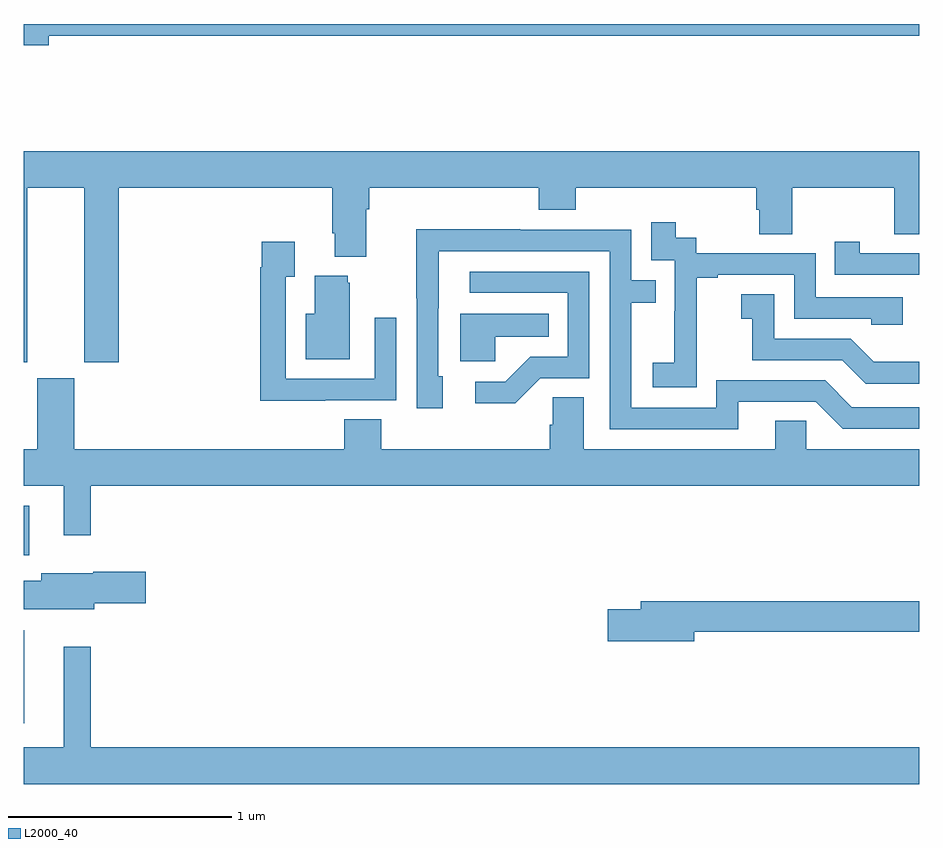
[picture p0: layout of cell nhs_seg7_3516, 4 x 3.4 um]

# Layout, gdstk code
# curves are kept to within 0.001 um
import gdstk
lib = gdstk.Library(unit=1e-6, precision=1e-09)
def R(c, l, rs):  # rectangles x0, y0, x1, y1
    for r in rs: c.add(gdstk.rectangle(r[:2], r[2:], *l))
def P(c, l, *ps):  # polygons
    for p in ps: c.add(gdstk.Polygon(p, *l))
L2000_40 = (2000, 40)

nhs_seg7_3516 = lib.new_cell('nhs_seg7_3516')
R(nhs_seg7_3516, L2000_40, [(335,1012.875,335.002,1013.29), (335,1013.627,335.023,1013.848)])
P(nhs_seg7_3516, L2000_40, [(335.11,1015.948),(339,1015.948),(339,1016),(335,1016),(335,1015.906),(335.11,1015.906)],
  [(335.014,1015.268),(335.27,1015.268),(335.27,1014.489),(335.423,1014.489),(335.423,1015.268),(336.377,1015.268),(336.377,1015.066),(336.389,1015.066),(336.389,1014.959),(336.529,1014.959),(336.529,1015.172),(336.542,1015.172),(336.542,1015.268),(337.301,1015.268),(337.301,1015.169),(337.466,1015.169),(337.466,1015.268),(338.273,1015.268),(338.273,1015.17),(338.285,1015.17),(338.285,1015.06),(338.433,1015.06),(338.433,1015.268),(338.89,1015.268),(338.89,1015.06),(339,1015.06),(339,1015.432),(335,1015.432),(335,1014.489),(335.014,1014.489)],
  [(338.007,1014.583),(338.006,1014.583),(338.006,1014.867),(338.101,1014.867),(338.101,1014.879),(338.442,1014.879),(338.442,1014.684),(338.787,1014.684),(338.787,1014.657),(338.927,1014.657),(338.927,1014.78),(338.538,1014.78),(338.538,1014.975),(338.004,1014.975),(338.004,1015.044),(337.912,1015.044),(337.912,1015.114),(337.803,1015.114),(337.803,1014.945),(337.908,1014.945),(337.908,1014.716),(337.907,1014.716),(337.907,1014.487),(337.809,1014.487),(337.809,1014.377),(338.007,1014.377)],
  [(338.191,1014.312),(338.538,1014.312),(338.658,1014.192),(339,1014.192),(339,1014.288),(338.7,1014.288),(338.58,1014.408),(338.094,1014.408),(338.094,1014.285),(337.713,1014.285),(337.713,1014.754),(337.823,1014.754),(337.823,1014.855),(337.713,1014.855),(337.713,1015.08),(337.217,1015.08),(337.217,1015.082),(336.754,1015.082),(336.754,1014.775),(336.756,1014.775),(336.756,1014.282),(336.871,1014.282),(336.871,1014.426),(336.852,1014.426),(336.853,1014.984),(337.617,1014.984),(337.617,1014.189),(338.191,1014.189)],
  [(339,1014.975),(338.734,1014.975),(338.734,1015.027),(338.623,1015.027),(338.623,1014.879),(339,1014.879)],
  [(336.347,1014.318),(336.663,1014.318),(336.663,1014.688),(336.567,1014.688),(336.567,1014.414),(336.171,1014.414),(336.171,1014.871),(336.211,1014.871),(336.211,1015.027),(336.063,1015.027),(336.063,1014.914),(336.055,1014.914),(336.055,1014.317),(336.347,1014.317)],
  [(337.308,1014.417),(337.527,1014.417),(337.527,1014.894),(336.993,1014.894),(336.993,1014.798),(337.431,1014.798),(337.431,1014.513),(337.262,1014.513),(337.151,1014.402),(337.017,1014.402),(337.017,1014.305),(337.195,1014.305)],
  [(336.457,1014.843),(336.446,1014.843),(336.446,1014.874),(336.299,1014.874),(336.299,1014.706),(336.26,1014.706),(336.26,1014.503),(336.457,1014.503)],
  [(339,1014.49),(338.798,1014.49),(338.694,1014.594),(338.352,1014.594),(338.352,1014.793),(338.205,1014.793),(338.205,1014.683),(338.254,1014.683),(338.254,1014.498),(338.657,1014.498),(338.762,1014.393),(339,1014.393)],
  [(337.107,1014.602),(337.346,1014.602),(337.346,1014.706),(336.95,1014.706),(336.95,1014.494),(337.107,1014.494)],
  [(335.299,1013.936),(339,1013.936),(339,1014.1),(338.496,1014.1),(338.496,1014.227),(338.357,1014.227),(338.357,1014.1),(337.501,1014.1),(337.501,1014.332),(337.362,1014.332),(337.362,1014.209),(337.349,1014.209),(337.349,1014.1),(336.596,1014.1),(336.596,1014.233),(336.431,1014.233),(336.431,1014.1),(335.224,1014.1),(335.224,1014.417),(335.06,1014.417),(335.06,1014.1),(335,1014.1),(335,1013.936),(335.177,1013.936),(335.177,1013.715),(335.299,1013.715)],
  [(335.314,1013.411),(335.545,1013.411),(335.545,1013.553),(335.31,1013.553),(335.31,1013.545),(335.078,1013.545),(335.078,1013.513),(335,1013.513),(335,1013.384),(335.314,1013.384)],
  [(337.996,1013.284),(339,1013.284),(339,1013.42),(337.757,1013.42),(337.757,1013.384),(337.608,1013.384),(337.608,1013.242),(337.996,1013.242)],
  [(339,1012.768),(335.299,1012.768),(335.299,1013.218),(335.177,1013.218),(335.177,1012.768),(335,1012.768),(335,1012.604),(339,1012.604)])

lib.write_gds('nhs_seg7_3516.gds')
